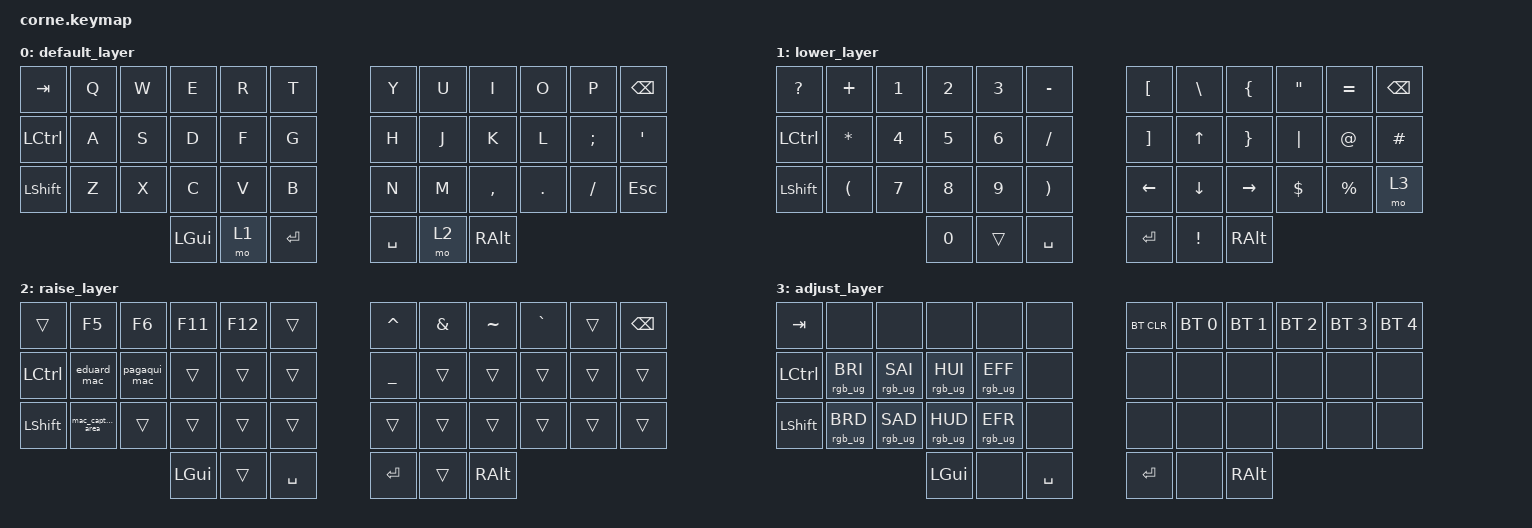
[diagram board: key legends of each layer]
/*
 * Copyright (c) 2020 The ZMK Contributors
 *
 * SPDX-License-Identifier: MIT
 */

#include <behaviors.dtsi>
#include <dt-bindings/zmk/keys.h>
#include <dt-bindings/zmk/bt.h>
#include <dt-bindings/zmk/rgb.h>
#include <dt-bindings/zmk/ext_power.h>
#include <dt-bindings/led/led.h>

&led_strip {
    chain-length = <27>;
};

/ {

        macros {
            eduard_mac: eduard_mac {
                compatible = "zmk,behavior-macro";
                label = "EDUARD_MAC";
                #binding-cells = <0>;
                bindings = <
                    &kp LS(E) &kp D &kp U &kp A &kp R &kp D &kp O &kp N2 &kp N4 &kp N6 &kp ASTERISK
                >;
            };
        
            pagaqui_mac: pagaqui_mac {
                compatible = "zmk,behavior-macro";
                label = "PAGAQUI_MAC";
                #binding-cells = <0>;
                bindings = <
                    &kp LS(P) &kp A &kp G &kp A &kp Q &kp U &kp I &kp N1 &kp ASTERISK
                >;
            };

            mac_capture_area: mac_capture_area {  // <-- Aquí está la etiqueta "mac_capture_area"
                    compatible = "zmk,behavior-macro";
                    label = "MAC_CAPTURE_AREA";
                    #binding-cells = <0>;
                    bindings = <
                        &kp LSHFT &kp LGUI &kp N4
                    >;
                };
        };
    
        keymap {
                compatible = "zmk,keymap";

                default_layer {
// -----------------------------------------------------------------------------------------
// |  TAB |  Q  |  W  |  E  |  R  |  T  |      |  Y  |  U   |  I  |  O  |  P  | BSPC |
// | CTRL |  A  |  S  |  D  |  F  |  G  |      |  H  |  J   |  K  |  L  |  ;  |  '   |
// | SHFT |  Z  |  X  |  C  |  V  |  B  |      |  N  |  M   |  ,  |  .  |  /  | ESC  |
//                    | GUI | LWR | ENT |      | SPC | RSE  | ALT |
                        bindings = <
   &kp TAB   &kp Q &kp W &kp E &kp R &kp T   &kp Y &kp U  &kp I &kp O &kp P &kp BSPC
   &kp LCTRL &kp A &kp S &kp D &kp F &kp G   &kp H &kp J  &kp K &kp L &kp SEMI &kp SQT
   &kp LSHFT &kp Z &kp X &kp C &kp V &kp B   &kp N &kp M  &kp COMMA &kp DOT &kp FSLH &kp ESC
                   &kp LGUI &mo 1 &kp RET    &kp SPACE &mo 2 &kp RALT
                        >;
                };
                lower_layer {
// -----------------------------------------------------------------------------------------
// |   ?  |  +  |  1  |  2  |  3  |  -  |      |  [  |  \  |  {  |  "  |  =  | BSPC |
// | CTRL |  *  |  4  |  5  |  6  |  /  |      |  ]  |  UP |  }  | "|" |  @  |   #  |
// | SHFT |  (  |  7  |  8  |  9  |  )  |      | LFT | DWN | RGT |  $  |  %  |adjustLayer|
//                    |  0  |  yo | SPC |      | ENT |  !  | ALT |
                        bindings = <
   &kp QUESTION &kp PLUS &kp N1 &kp N2 &kp N3 &kp MINUS   &kp LBKT &kp BSLH &kp LBRC &kp DQT &kp EQUAL &kp BSPC
   &kp LCTRL &kp ASTERISK &kp N4 &kp N5 &kp N6 &kp SLASH   &kp RBKT &kp UP &kp RBRC &kp PIPE &kp AT &kp HASH
   &kp LSHFT &kp LPAR &kp N7 &kp N8 &kp N9 &kp RPAR   &kp LEFT &kp DOWN &kp RIGHT &kp DLLR &kp PRCNT &mo 3
                                    &kp N0 &trans &kp SPACE   &kp RET &kp EXCL &kp RALT
                        >;
                };

                raise_layer {
// -----------------------------------------------------------------------------------------
// |      | F5  | F6   | F11 | F12 |     |      |  ^  |  &  |  ~  |  `  |     | BSPC |
// | CTRL | Edua| Pagaq|     |     |     |      |  _  |     |     |     |     |      |
// | SHFT |Captu|      |     |     |     |      |     |     |     |     |     |      |
//                     | GUI |     | SPC |      | ENT |     | ALT |
                        bindings = <
   &trans  &kp F5  &kp F6 &kp F11 &kp F12  &trans          &kp CARET &kp AMPS  &kp TILDE &kp GRAVE &trans &kp BSPC
   &kp LCTRL &eduard_mac &pagaqui_mac &trans &trans   &trans      &kp UNDER &trans &trans  &trans &trans &trans
   &kp LSHFT &mac_capture_area &trans &trans &trans   &trans      &trans &trans  &trans  &trans &trans &trans
                             &kp LGUI &trans   &kp SPACE   &kp RET   &trans    &kp RALT
                        >;
                };
    adjust_layer {
    // -----------------------------------------------------------------------------------------
    // |TAB   |        |        |        |        |     |      | BT_CLR| BT 0 | BT 1 | BT 2 | BT 3 |  BT 4 |
    // | CTRL |RGB BRI+|RGB SAT+|RGB HUE+|RGB ANI+|     |      |       |      |     |     |        | BSPC |
    // | SHFT |RGB BRI-|RGB SAT-|RGB HUE-|RGB ANI-|     |      |       |      |     |     |        |      |
    //                                | GUI |     | SPC |      | RET |     |  ALT  |
        bindings = <
            &kp TAB  &none   &none &none &none &none   &bt BT_CLR &bt BT_SEL 0 &bt BT_SEL 1 &bt BT_SEL 2 &bt BT_SEL 3 &bt BT_SEL 4
            &kp LCTRL &rgb_ug RGB_BRI &rgb_ug RGB_SAI &rgb_ug RGB_HUI &rgb_ug RGB_EFF &none   &none &none &none &none &none &none
            &kp LSHFT &rgb_ug RGB_BRD &rgb_ug RGB_SAD &rgb_ug RGB_HUD &rgb_ug RGB_EFR &none   &none &none &none &none &none &none
                          &kp LGUI &none &kp SPACE &kp RET &none &kp RALT
                    >;
                };
        };
};
